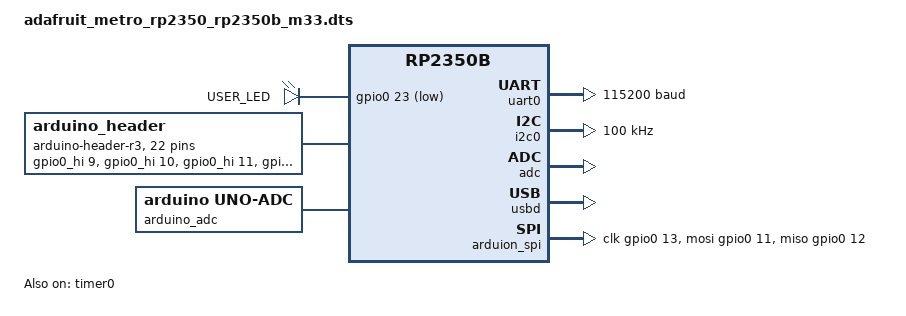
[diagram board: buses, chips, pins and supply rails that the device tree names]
/*
 * Copyright (c) 2025 Pete Johanson
 *
 * SPDX-License-Identifier: Apache-2.0
 */

/dts-v1/;

/* The build system assumes that there's a cpucluster-specific file.
 *
 * This file provides composition of the device tree:
 * 1. The common features of the SoC
 * 2. Core-specific configuration.
 * 3. Board-specific configuration.
 */
#include <raspberrypi/rpi_pico/rp2350b.dtsi>
#include <raspberrypi/rpi_pico/m33.dtsi>

#include <freq.h>

#include <zephyr/dt-bindings/gpio/arduino-header-r3.h>
#include <zephyr/dt-bindings/i2c/i2c.h>
#include <zephyr/dt-bindings/led/led.h>
#include <zephyr/dt-bindings/pwm/pwm.h>

#include "adafruit_metro_rp2350-pinctrl.dtsi"

/ {
	chosen {
		zephyr,sram = &sram0;
		zephyr,flash = &flash0;
		zephyr,console = &uart0;
		zephyr,shell-uart = &uart0;
		zephyr,code-partition = &code_partition;
	};

	aliases {
		watchdog0 = &wdt0;
		led-strip = &ws2812;
		led0 = &user_led;
	};

	leds {
		compatible = "gpio-leds";

		user_led: user_led {
			gpios = <&gpio0 23 GPIO_ACTIVE_LOW>;
			label = "USER_LED";
		};
	};

	arduino_header: connector {
		compatible = "arduino-header-r3";
		#gpio-cells = <2>;
		gpio-map-mask = <0xffffffff 0xffffffc0>;
		gpio-map-pass-thru = <0 0x3f>;
		gpio-map = <ARDUINO_HEADER_R3_A0 0 &gpio0_hi 9 0>,
			   <ARDUINO_HEADER_R3_A1 0 &gpio0_hi 10 0>,
			   <ARDUINO_HEADER_R3_A2 0 &gpio0_hi 11 0>,
			   <ARDUINO_HEADER_R3_A3 0 &gpio0_hi 12 0>,
			   <ARDUINO_HEADER_R3_A4 0 &gpio0_hi 13 0>,
			   <ARDUINO_HEADER_R3_A5 0 &gpio0_hi 14 0>,
			   <ARDUINO_HEADER_R3_D0 0 &gpio0 1 0>,
			   <ARDUINO_HEADER_R3_D1 0 &gpio0 0 0>,
			   <ARDUINO_HEADER_R3_D2 0 &gpio0 2 0>,
			   <ARDUINO_HEADER_R3_D3 0 &gpio0 3 0>,
			   <ARDUINO_HEADER_R3_D4 0 &gpio0 4 0>,
			   <ARDUINO_HEADER_R3_D5 0 &gpio0 5 0>,
			   <ARDUINO_HEADER_R3_D6 0 &gpio0 6 0>,
			   <ARDUINO_HEADER_R3_D7 0 &gpio0 7 0>,
			   <ARDUINO_HEADER_R3_D8 0 &gpio0 8 0>,
			   <ARDUINO_HEADER_R3_D9 0 &gpio0 9 0>,
			   <ARDUINO_HEADER_R3_D10 0 &gpio0 10 0>,
			   <ARDUINO_HEADER_R3_D11 0 &gpio0 11 0>,
			   <ARDUINO_HEADER_R3_D12 0 &gpio0 22 0>,
			   <ARDUINO_HEADER_R3_D13 0 &gpio0 23 0>,
			   <ARDUINO_HEADER_R3_D14 0 &gpio0 16 0>,
			   <ARDUINO_HEADER_R3_D15 0 &gpio0 17 0>;
	};

	arduino_adc: analog-connector {
		compatible = "arduino,uno-adc";
		#io-channel-cells = <1>;
		io-channel-map = <0 &adc 1>,	/* A0 = GPIO41 = ADC1 */
				 <1 &adc 2>,	/* A1 = GPIO42 = ADC2 */
				 <2 &adc 3>,	/* A2 = GPIO43 = ADC3 */
				 <3 &adc 4>,	/* A3 = GPIO44 = ADC4 */
				 <4 &adc 5>,	/* A4 = GPIO45 = ADC5 */
				 <5 &adc 6>;	/* A5 = GPIO46 = ADC6 */
	};
};

&flash0 {
	reg = <0x10000000 DT_SIZE_M(16)>;

	partitions {
		compatible = "fixed-partitions";
		#address-cells = <1>;
		#size-cells = <1>;

		/* Reserved memory for an image definition block. The block is much
		 * smaller than 256 bytes, but in practice the linker places the vector
		 * table at a much larger alignment offset.
		 */
		image_def: partition@0 {
			label = "image_def";
			reg = <0x00000000 0x100>;
			read-only;
		};

		/*
		 * Usable flash. Starts at 0x100, after the image definition block.
		 * The partition size is 4MB minus the 0x100 bytes taken by the
		 * image definition.
		 */
		code_partition: partition@100 {
			label = "code-partition";
			reg = <0x100 (DT_SIZE_M(16) - 0x100)>;
			read-only;
		};
	};
};

&uart0 {
	current-speed = <115200>;
	status = "okay";
	pinctrl-0 = <&uart0_default>;
	pinctrl-names = "default";
};

&gpio0 {
	status = "okay";
};

&i2c0 {
	clock-frequency = <I2C_BITRATE_STANDARD>;
	pinctrl-0 = <&i2c0_default>;
	pinctrl-names = "default";
	status = "okay";
};

&adc {
	pinctrl-0 = <&adc_default>;
	pinctrl-names = "default";
	status = "okay";
};

&pwm {
	pinctrl-0 = <&pwm_default>;
	pinctrl-names = "default";
	divider-int-0 = <255>;
};

&timer0 {
	status = "okay";
};

zephyr_udc0: &usbd {
	status = "okay";
};

&pio0 {
	status = "okay";

	arduion_spi: pio0_spi0 {
		compatible = "raspberrypi,pico-spi-pio";
		clocks = <&clocks RPI_PICO_CLKID_CLK_SYS>;
		#address-cells = <1>;
		#size-cells = <0>;
		cs-gpios = <&gpio0 10 GPIO_ACTIVE_LOW>;
		clk-gpios = <&gpio0 13 GPIO_ACTIVE_HIGH>;
		mosi-gpios = <&gpio0 11 GPIO_ACTIVE_HIGH>;
		miso-gpios = <&gpio0 12 GPIO_ACTIVE_HIGH>;
		pinctrl-0 = <&pio0_spi0_default>;
		pinctrl-names = "default";
	};
};

&pio1 {
	status = "okay";

	pio-ws2812 {
		compatible = "worldsemi,ws2812-rpi_pico-pio";
		status = "okay";
		pinctrl-0 = <&pio1_ws2812_default>;
		pinctrl-names = "default";
		bit-waveform = <3>, <3>, <4>;

		ws2812: ws2812 {
			status = "okay";
			gpios = <&gpio0 25 GPIO_ACTIVE_HIGH>;
			chain-length = <1>;
			color-mapping = <LED_COLOR_ID_GREEN
					 LED_COLOR_ID_RED
					 LED_COLOR_ID_BLUE>;
			reset-delay = <280>;
			frequency = <800000>;
		};
	};
};

arduino_serial: &uart0 {};

arduino_i2c: &i2c0 {};
